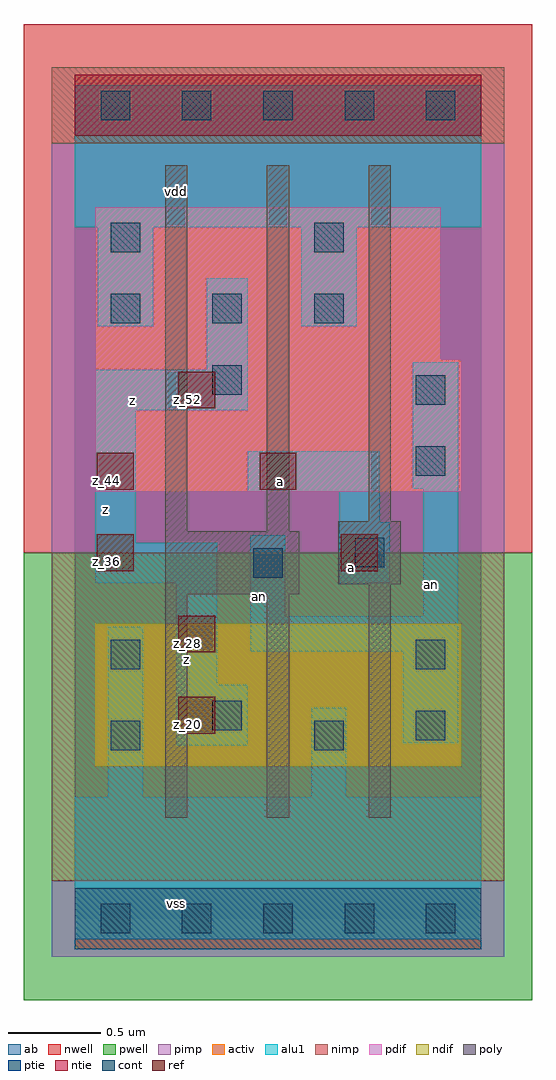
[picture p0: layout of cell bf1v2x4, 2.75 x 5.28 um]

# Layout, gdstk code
import gdstk
lib = gdstk.Library(unit=1e-6, precision=2.5e-09)
def R(c, l, rs):  # rectangles x0, y0, x1, y1
    for r in rs: c.add(gdstk.rectangle(r[:2], r[2:], *l))
def A(c, l, x, y, w, h, nx, ny, dx, dy):  # array of equal rectangles
    R(c, l, [(x+i*dx, y+j*dy, x+i*dx+w, y+j*dy+h) for i in range(nx) for j in range(ny)])
ndif = (3, 0)
pdif = (4, 0)
ntie = (5, 0)
ptie = (6, 0)
ref = (24, 0)
cont = (25, 0)
pwell = (41, 0)
nwell = (42, 0)
activ = (43, 0)
pimp = (44, 0)
nimp = (45, 0)
poly = (46, 0)
alu1 = (49, 0)
ab = (63, 0)

bf1v2x4 = lib.new_cell('bf1v2x4')
R(bf1v2x4, ndif, [(0.11,0.825,2.09,1.595)])
R(bf1v2x4, pdif, [(0.11,2.31,2.09,3.025), (0.11,3.025,1.98,3.85)])
R(bf1v2x4, ntie, [(0,4.235,2.2,4.565)])
R(bf1v2x4, ptie, [(0,-0.165,2.2,0.165)])
R(bf1v2x4, ref, [(0.56,1,0.76,1.2), (0.56,1.44,0.76,1.64), (0.12,1.88,0.32,2.08), (1.44,1.88,1.64,2.08), (0.12,2.32,0.32,2.52), (1,2.32,1.2,2.52), (0.56,2.76,0.76,2.96)])
A(bf1v2x4, cont, 0.14, -0.08, 0.16, 0.16, 5, 2, 0.44, 4.4)
A(bf1v2x4, cont, 0.195, 3.22, 0.16, 0.16, 3, 1, 0.55, 0)
R(bf1v2x4, cont, [(0.195,0.91,0.355,1.07), (1.295,0.91,1.455,1.07), (1.845,0.965,2.005,1.125), (0.745,1.02,0.905,1.18), (0.195,1.35,0.355,1.51), (1.845,1.35,2.005,1.51), (0.965,1.845,1.125,2.005), (1.515,1.9,1.675,2.06), (1.845,2.395,2.005,2.555), (1.845,2.78,2.005,2.94), (0.745,2.835,0.905,2.995), (0.195,3.605,0.355,3.765), (1.295,3.605,1.455,3.765)])
R(bf1v2x4, pwell, [(-0.275,-0.44,2.475,1.98)])
R(bf1v2x4, nwell, [(-0.275,1.98,2.475,4.84)])
R(bf1v2x4, activ, [(0,-0.165,2.2,0.165), (0.11,0.825,2.09,1.595), (0.11,2.31,2.09,3.025), (0.11,3.025,1.98,3.85), (0,4.235,2.2,4.565)])
R(bf1v2x4, pimp, [(-0.125,-0.205,2.325,0.205), (-0.125,1.98,2.325,4.195)])
R(bf1v2x4, nimp, [(-0.125,0.205,2.325,1.98), (-0.125,4.195,2.325,4.605)])
R(bf1v2x4, poly, [(0.49,0.545,0.61,1.755), (1.04,0.545,1.16,1.755), (1.59,0.545,1.71,1.81), (0.49,1.755,1.215,2.095), (1.425,1.81,1.765,2.15), (0.49,2.095,0.61,4.075), (1.04,2.095,1.16,4.075), (1.59,2.15,1.71,4.075)])
R(bf1v2x4, alu1, [(0,-0.11,2.2,0.66), (0.18,0.66,0.37,1.58), (1.28,0.66,1.47,1.14), (0.55,0.935,0.935,1.265), (1.775,0.95,2.075,1.445), (0.55,1.265,0.77,1.815), (0.95,1.445,2.075,1.635), (0.95,1.635,1.14,2.075), (1.885,1.635,2.075,2.325), (0.11,1.815,0.77,2.035), (1.43,1.815,1.705,2.145), (0.11,2.035,0.33,2.75), (1.43,2.145,1.65,2.31), (0.935,2.31,1.65,2.53), (1.83,2.325,2.075,3.01), (0.11,2.75,0.935,2.97), (0.715,2.97,0.935,3.465), (0.125,3.205,0.425,3.74), (1.225,3.205,1.525,3.74), (0,3.74,2.2,4.51)])
R(bf1v2x4, ab, [(0,0,2.2,4.4)])
bf1v2x4.add(gdstk.Label('vss', (0.55,0.0825), layer=49, texttype=0))
bf1v2x4.add(gdstk.Label('an', (1.9325,1.8075), layer=49, texttype=0))
bf1v2x4.add(gdstk.Label('a', (1.4975,1.8975), layer=49, texttype=0))
bf1v2x4.add(gdstk.Label('an', (0.9975,1.745), layer=49, texttype=0))
bf1v2x4.add(gdstk.Label('z', (0.605,1.4025), layer=49, texttype=0))
bf1v2x4.add(gdstk.Label('a', (1.1125,2.365), layer=49, texttype=0))
bf1v2x4.add(gdstk.Label('z', (0.165,2.2125), layer=49, texttype=0))
bf1v2x4.add(gdstk.Label('z', (0.315,2.805), layer=49, texttype=0))
bf1v2x4.add(gdstk.Label('vdd', (0.55,3.9325), layer=49, texttype=0))
bf1v2x4.add(gdstk.Label('z_20', (0.61,1.05), layer=24, texttype=0))
bf1v2x4.add(gdstk.Label('z_52', (0.61,2.81), layer=24, texttype=0))
bf1v2x4.add(gdstk.Label('a_44', (1.05,2.37), layer=24, texttype=0))
bf1v2x4.add(gdstk.Label('a_36', (1.49,1.93), layer=24, texttype=0))
bf1v2x4.add(gdstk.Label('z_36', (0.17,1.93), layer=24, texttype=0))
bf1v2x4.add(gdstk.Label('z_44', (0.17,2.37), layer=24, texttype=0))
bf1v2x4.add(gdstk.Label('z_28', (0.61,1.49), layer=24, texttype=0))

lib.write_gds('bf1v2x4.gds')
